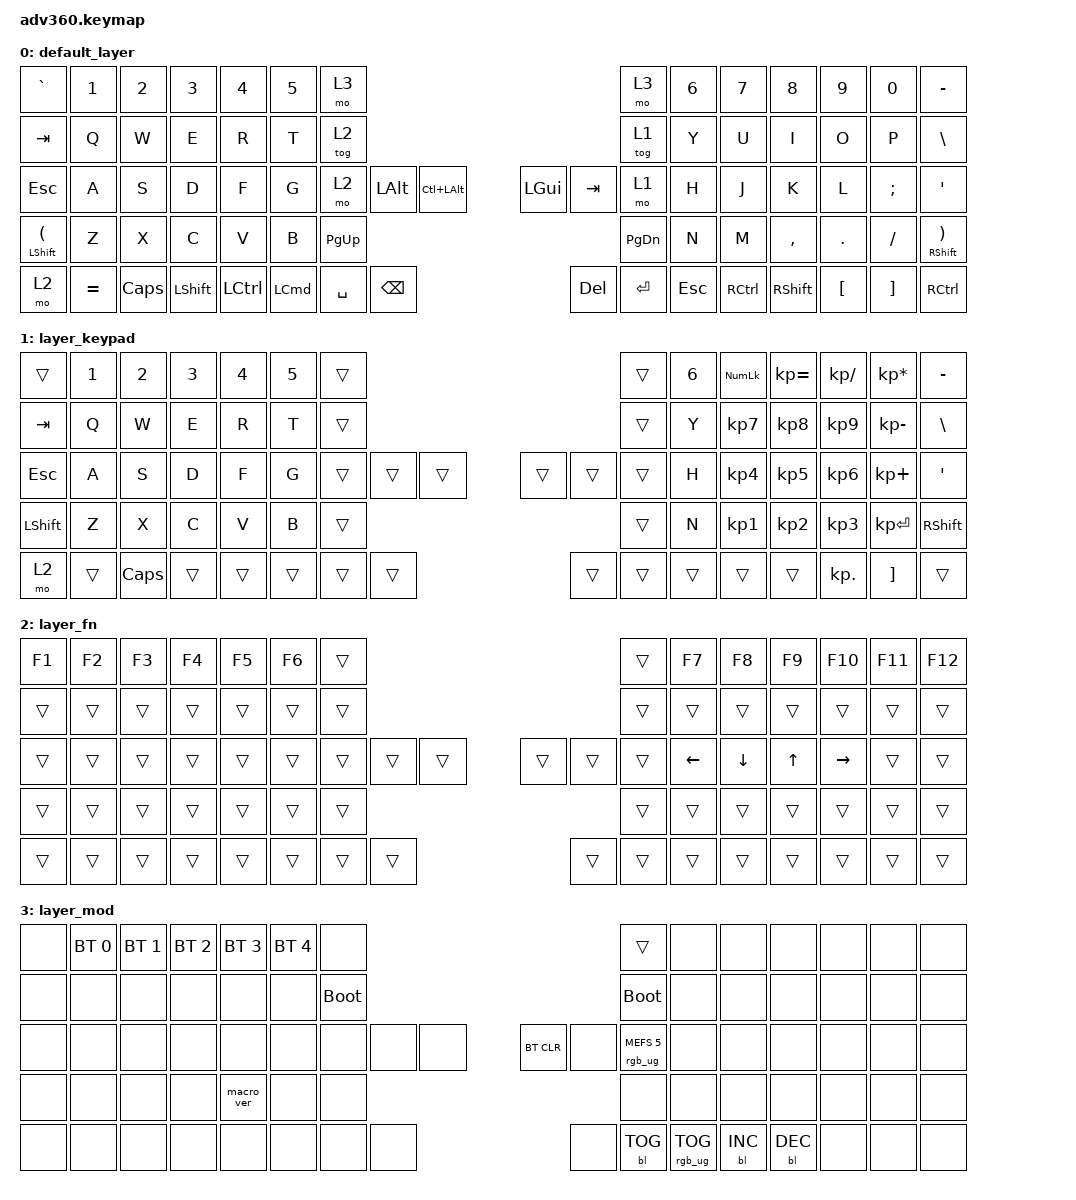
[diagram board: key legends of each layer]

/*
 * Copyright (c) 2020 The ZMK Contributors
 *
 * SPDX-License-Identifier: MIT
 */


/* THIS FILE WAS GENERATED!
 *
 * This file was generated automatically. You may or may not want to
 * edit it directly.
 */

#include <behaviors.dtsi>
#include <dt-bindings/zmk/keys.h>
#include <dt-bindings/zmk/bt.h>
#include <dt-bindings/zmk/rgb.h>
#include <dt-bindings/zmk/backlight.h>

/ {
  behaviors {
    #include "macros.dtsi"
    #include "version.dtsi"

    hm: homerow_mods {
        compatible = "zmk,behavior-hold-tap";
        label = "HOMEROW_MODS";
        #binding-cells = <2>;
        tapping-term-ms = <200>;
        quick_tap_ms = <175>;
        flavor = "tap-preferred";
        bindings = <&kp>, <&kp>;
    };
  };

    keymap {
        compatible = "zmk,keymap";


        default_layer {
            bindings = <
                   &kp GRAVE     &kp N1    &kp N2      &kp N3     &kp N4  &kp N5               &mo 3                                                                      &mo 3  &kp N6     &kp N7      &kp N8    &kp N9    &kp N0                     &kp MINUS
                     &kp TAB      &kp Q     &kp W       &kp E      &kp R   &kp T              &tog 2                                                                     &tog 1   &kp Y      &kp U       &kp I     &kp O     &kp P                      &kp BSLH
                     &kp ESC      &kp A     &kp S       &kp D      &kp F   &kp G               &mo 2  &kp LEFT_ALT  &kp LC(LALT)                   &kp LGUI    &kp TAB    &mo 1   &kp H      &kp J       &kp K     &kp L  &kp SEMI                       &kp SQT
 &mt LSHIFT LEFT_PARENTHESIS      &kp Z     &kp X       &kp C      &kp V   &kp B                                       &kp PG_UP                  &kp PG_DN                       &kp N      &kp M   &kp COMMA   &kp DOT  &kp FSLH  &mt RSHIFT RIGHT_PARENTHESIS
                       &mo 2  &kp EQUAL  &kp CAPS  &kp LSHIFT  &kp LCTRL                    &kp LCMD     &kp SPACE      &kp BSPC                    &kp DEL  &kp ENTER  &kp ESC          &kp RCTRL  &kp RSHIFT  &kp LBKT  &kp RBKT                     &kp RCTRL
            >;
        };

        layer_keypad {
            bindings = <
    &trans  &kp N1    &kp N2  &kp N3  &kp N4  &kp N5            &trans                                                  &trans  &kp N6  &kp KP_NUM  &kp KP_EQUAL  &kp KP_DIVIDE  &kp KP_MULTIPLY  &kp MINUS
   &kp TAB   &kp Q     &kp W   &kp E   &kp R   &kp T            &trans                                                  &trans   &kp Y   &kp KP_N7     &kp KP_N8      &kp KP_N9     &kp KP_MINUS   &kp BSLH
   &kp ESC   &kp A     &kp S   &kp D   &kp F   &kp G            &trans  &trans  &trans                  &trans  &trans  &trans   &kp H   &kp KP_N4     &kp KP_N5      &kp KP_N6      &kp KP_PLUS    &kp SQT
 &kp LSHFT   &kp Z     &kp X   &kp C   &kp V   &kp B                            &trans                  &trans                   &kp N   &kp KP_N1     &kp KP_N2      &kp KP_N3     &kp KP_ENTER  &kp RSHFT
     &mo 2  &trans  &kp CAPS  &trans  &trans                    &trans  &trans  &trans                  &trans  &trans  &trans              &trans        &trans     &kp KP_DOT         &kp RBKT     &trans
            >;
        };

        layer_fn {
            bindings = <
 &kp F1  &kp F2  &kp F3  &kp F4  &kp F5  &kp F6            &trans                                                  &trans          &kp F7          &kp F8        &kp F9          &kp F10  &kp F11  &kp F12
 &trans  &trans  &trans  &trans  &trans  &trans            &trans                                                  &trans          &trans          &trans        &trans           &trans   &trans   &trans
 &trans  &trans  &trans  &trans  &trans  &trans            &trans  &trans  &trans                  &trans  &trans  &trans  &kp LEFT_ARROW  &kp DOWN_ARROW  &kp UP_ARROW  &kp RIGHT_ARROW   &trans   &trans
 &trans  &trans  &trans  &trans  &trans  &trans                            &trans                  &trans                          &trans          &trans        &trans           &trans   &trans   &trans
 &trans  &trans  &trans  &trans  &trans                    &trans  &trans  &trans                  &trans  &trans  &trans                          &trans        &trans           &trans   &trans   &trans
            >;
        };

        layer_mod {
            bindings = <
  &none  &bt BT_SEL 0  &bt BT_SEL 1  &bt BT_SEL 2  &bt BT_SEL 3  &bt BT_SEL 4                  &none                                                                          &trans   &none       &none       &none   &none   &none   &none
  &none         &none         &none         &none         &none         &none            &bootloader                                                                     &bootloader   &none       &none       &none   &none   &none   &none
  &none         &none         &none         &none         &none         &none                  &none   &none   &none                  &bt BT_CLR       &none  &rgb_ug RGB_MEFS_CMD 5   &none       &none       &none   &none   &none   &none
  &none         &none         &none         &none    &macro_ver         &none                                  &none                       &none                                       &none       &none       &none   &none   &none   &none
  &none         &none         &none         &none         &none                                &none   &none   &none                       &none  &bl BL_TOG         &rgb_ug RGB_TOG          &bl BL_INC  &bl BL_DEC   &none   &none   &none
            >;
        };

    };
};
